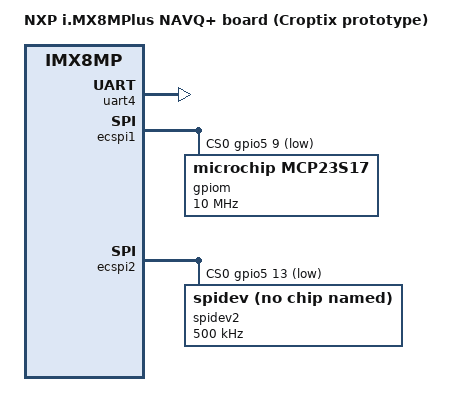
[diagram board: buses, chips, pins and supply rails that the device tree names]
/dts-v1/;

/*#include "imx8mp-evk.dts"*/
#include "imx8mp-navq.dts"

/ {
	model = "NXP i.MX8MPlus NAVQ+ board (Croptix prototype)";
	compatible = "croptix,imx8mp-navq-croptix", "fsl,imx8mp-navq", "fsl,imx8mp";
};

/* Disable UART3 */

&uart3 {
	status = "disabled";
};

/* Disable I2C6 */
&i2c6 {
	status = "disabled";
};

/* Redirect UART4 to AUX pins */
&uart4 {
	pinctrl-names = "default";
	pinctrl-0 = <&pinctrl_uart4_aux>;
	assigned-clocks = <&clk IMX8MP_CLK_UART4>;
	assigned-clock-parents = <&clk IMX8MP_SYS_PLL1_80M>;
	fsl,uart-has-rtscts;
	status = "okay";

	/*gps1: gps@0 {
		compatible = "u-blox,neo-m8"
		frequency = <38400>; // no idea if this is the right property name
	}*/
};

/* Enable SPI1 & SPI2 */

/* defaults to UART3; change to SPI1 */
&ecspi1 {
	#address-cells = <1>;
	#size-cells = <0>;
	fsl,spi-num-chipselects = <1>;
	pinctrl-names = "default";
	/*pinctrl-0 = <&pinctrl_uart3>;*/
	pinctrl-0 = <&pinctrl_ecspi1 &pinctrl_ecspi1_cs>;
	cs-gpios = <&gpio5 9 GPIO_ACTIVE_LOW>;
	status = "okay";

	/* NB: The mcp23s17 driver doesn't like having multiple expanders on the same
		CS line. But the mask can accept multiple chips on one node if we give
		it addresses via the address mask.
	 */
	gpiom: gpio@0 {
		compatible = "microchip,mcp23s17";
		#gpio-cells = <2>;
		gpio-controller;
		reg = <0>;  /* CS0 */
		/* chip address (A2:A0) - 0b000 - address is 0, so set bit 0 to 1 */
		/* chip address (A2:A0) - 0b001 - address is 1, so set bit 1 to 1 */
		/* chip address (A2:A0) - 0b010 - address is 2, so set bit 2 to 1 */
		microchip,spi-present-mask = <0x07>; /* 0b0111 (bits 0-2 set) */
		spi-max-frequency = <10000000>;
		#interrupt-cells = <2>;
	};
};

&ecspi2 {
	#address-cells = <1>;
	#size-cells = <0>;
	fsl,spi-num-chipselects = <1>;
	pinctrl-names = "default";
	/*pinctrl-0 = <&pinctrl_uart4>;*/
	pinctrl-0 = <&pinctrl_ecspi2 &pinctrl_ecspi2_cs>;
	cs-gpios = <&gpio5 13 GPIO_ACTIVE_LOW>;
	status = "okay";

	spidev2: spi@0 {
		reg = <0>;
		compatible = "rohm,dh2228fv";
		spi-max-frequency = <500000>;
	};

};

&iomuxc {
	pinctrl-names = "default";

	/* Derived from imx8mp-evk.dts -- do the hex values need editing? */

	pinctrl_ecspi1: ecspi1grp {
		fsl,pins = <
			MX8MP_IOMUXC_ECSPI1_SCLK__ECSPI1_SCLK		0x82
			MX8MP_IOMUXC_ECSPI1_MOSI__ECSPI1_MOSI		0x82
			MX8MP_IOMUXC_ECSPI1_MISO__ECSPI1_MISO		0x82
		>;
	};

	pinctrl_ecspi1_cs: ecspi1cs {
		fsl,pins = <
			MX8MP_IOMUXC_ECSPI1_SS0__GPIO5_IO09		0x40000
		>;
	};

	/* Copied from imx8mp-evk.dts */

	pinctrl_ecspi2: ecspi2grp {
		fsl,pins = <
			MX8MP_IOMUXC_ECSPI2_SCLK__ECSPI2_SCLK		0x82
			MX8MP_IOMUXC_ECSPI2_MOSI__ECSPI2_MOSI		0x82
			MX8MP_IOMUXC_ECSPI2_MISO__ECSPI2_MISO		0x82
		>;
	};

	pinctrl_ecspi2_cs: ecspi2cs {
		fsl,pins = <
			MX8MP_IOMUXC_ECSPI2_SS0__GPIO5_IO13		0x40000
		>;
	};

	/* Guessing from imx8mp-pinfunc.h */

	pinctrl_uart4_aux: uart4auxgrp {
		fsl,pins = <
			MX8MP_IOMUXC_UART4_TXD__UART4_DCE_TX		0x140
			MX8MP_IOMUXC_UART4_RXD__UART4_DCE_RX		0x140
		>;
	};
};

